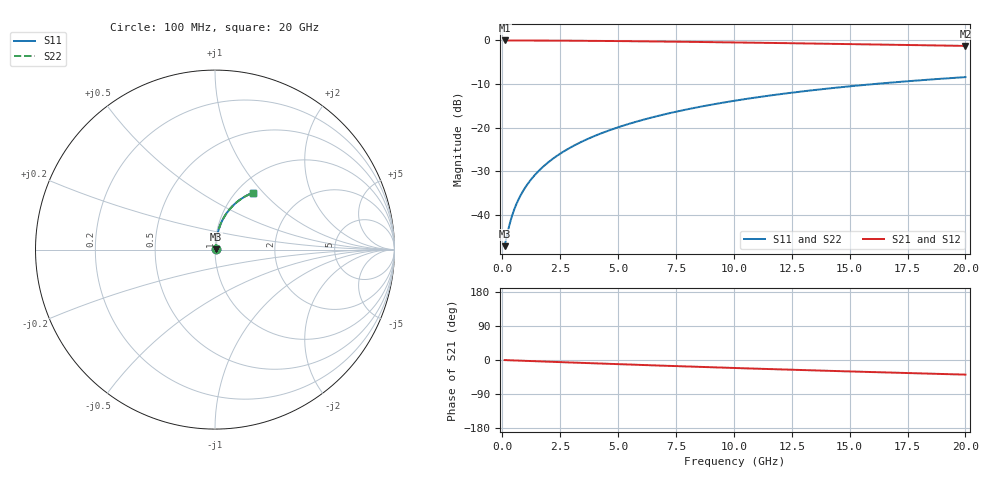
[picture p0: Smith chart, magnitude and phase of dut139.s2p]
! Touchstone file exported from HFSS 2024.1.0
!  File:  C:/UserFiles/LocalFiles/RDL_TSV_Batchsim/temp_RDL_top_139_1778684694.aedt
!  Generated:  11:07:07 PM May 13, 2026
!  Design:  RDL_top
!  Project:  temp_RDL_top_139_1778684694
!  Setup:  Setup1
!  Solution:  Sweep
! Variables:
!  dtsv = 10.80580581um
!  hbump = 3um
!  htsv = 97.1um
!  ldown = 100um
!  lrdl = 535.22um
!  p = 40
!  p1 = 43.03um
!  rhole = 1um
!  t = 450um
!  tdown = 3.915915916um
!  trdl = 3.04um
!  wdown = 15.38538539um
!  wrdl = 16.86um
# GHz S MA R 50.000000
! Terminal data exported
! Port[1] = Box2_T1
! Port[2] = Box2_T2
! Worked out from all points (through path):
!   200 points, 100 MHz to 20 GHz, reference 50 ohm
!   highest |S21| = -0.03 dB at 100 MHz (marker M1); lowest = -1.3 dB at 20 GHz (marker M2)
!   group delay of S21, straight-line fit = 5.34 ps
!   lowest |S11| = -47.1 dB at 100 MHz (marker M3), VSWR 1.01, Z = 50.4 + j0.219 ohm
!   |S11| at or under -10 dB: start of sweep to 16.06 GHz
!   |S22| runs from -47.1 to -8.4 dB; largest |S21 - S12| = 4.1e-15
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0.1  0.004427 29.4  0.9961 -0.2  0.9961 -0.2  0.004427 29.4
! Gamma 0 0 0 0
! Port Impedance 50 0 50 0
0.3  0.007603 57.3  0.9959 -0.7  0.9959 -0.7  0.007603 57.3
0.4  0.009453 63.2  0.9957 -0.9  0.9957 -0.9  0.009453 63.2
0.5  0.01134 67.1  0.9955 -1.1  0.9955 -1.1  0.01134 67.1
0.6  0.01324 69.9  0.9954 -1.4  0.9954 -1.4  0.01324 69.9
0.8  0.01706 73.6  0.995 -1.8  0.995 -1.8  0.01706 73.6
1  0.02092 76.0  0.9947 -2.3  0.9947 -2.3  0.02092 76.0
1.2  0.02481 77.6  0.9944 -2.7  0.9944 -2.7  0.02481 77.6
1.4  0.02872 78.8  0.994 -3.2  0.994 -3.2  0.02872 78.8
1.7  0.03463 79.9  0.9934 -3.8  0.9934 -3.8  0.03463 79.9
2.2  0.04456 81.0  0.9921 -4.9  0.9921 -4.9  0.04456 81.0
2.8  0.05657 81.4  0.9902 -6.2  0.9902 -6.2  0.05657 81.4
3.5  0.07069 81.4  0.9875 -7.8  0.9875 -7.8  0.07069 81.4
4.2  0.08491 81.0  0.9843 -9.3  0.9843 -9.3  0.08491 81.0
5  0.1012 80.3  0.9802 -11.0  0.9802 -11.0  0.1012 80.3
5.9  0.1197 79.3  0.975 -12.9  0.975 -12.9  0.1197 79.3
6.8  0.1382 78.1  0.9692 -14.7  0.9692 -14.7  0.1382 78.1
8.4  0.1709 75.7  0.9581 -17.9  0.9581 -17.9  0.1709 75.7
10.1  0.2051 73.0  0.9453 -21.2  0.9453 -21.2  0.2051 73.0
13.4  0.2687 67.4  0.9187 -27.4  0.9187 -27.4  0.2687 67.4
16.7  0.3271 61.8  0.8909 -33.1  0.8909 -33.1  0.3271 61.8
20  0.3794 56.4  0.8629 -38.5  0.8629 -38.5  0.3795 56.4
